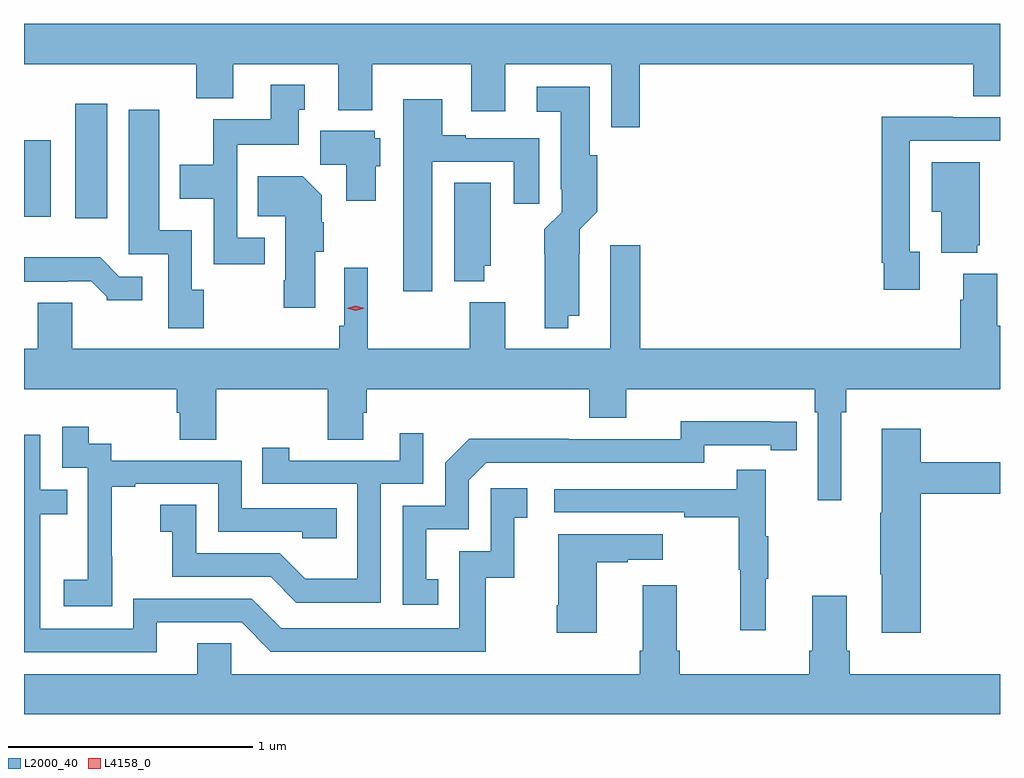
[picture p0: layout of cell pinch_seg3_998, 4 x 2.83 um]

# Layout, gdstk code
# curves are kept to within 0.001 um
import gdstk
lib = gdstk.Library(unit=1e-6, precision=1e-09)
def R(c, l, rs):  # rectangles x0, y0, x1, y1
    for r in rs: c.add(gdstk.rectangle(r[:2], r[2:], *l))
def P(c, l, *ps):  # polygons
    for p in ps: c.add(gdstk.Polygon(p, *l))
L2000_40 = (2000, 40)
L4158_0 = (4158, 0)

pinch_seg3_998 = lib.new_cell('pinch_seg3_998')
R(pinch_seg3_998, L2000_40, [(491.924,706.944,492.055,707.413), (491.714,706.949,491.824,707.263)])
P(pinch_seg3_998, L2000_40, [(494.237,707.576),(495.605,707.576),(495.605,707.443),(495.714,707.443),(495.714,707.74),(491.714,707.74),(491.714,707.576),(492.419,707.576),(492.419,707.435),(492.571,707.435),(492.571,707.576),(493.001,707.576),(493.001,707.387),(493.141,707.387),(493.141,707.576),(493.547,707.576),(493.547,707.382),(493.687,707.382),(493.687,707.576),(494.121,707.576),(494.121,707.316),(494.237,707.316)],
  [(492.7,706.863),(492.588,706.863),(492.588,707.246),(492.841,707.246),(492.841,707.388),(492.865,707.388),(492.865,707.491),(492.725,707.491),(492.725,707.35),(492.49,707.35),(492.49,707.164),(492.353,707.164),(492.353,707.024),(492.492,707.024),(492.492,706.755),(492.7,706.755)],
  [(493.945,706.544),(493.99,706.544),(493.991,706.898),(494.063,706.97),(494.063,707.202),(494.032,707.202),(494.032,707.482),(493.815,707.482),(493.815,707.381),(493.913,707.381),(493.913,707.062),(493.917,707.062),(493.917,706.968),(493.847,706.898),(493.848,706.493),(493.945,706.493)],
  [(493.387,707.175),(493.721,707.175),(493.721,707.004),(493.825,707.004),(493.825,707.271),(493.525,707.271),(493.525,707.284),(493.429,707.284),(493.429,707.431),(493.268,707.431),(493.268,706.644),(493.387,706.644)],
  [(492.45,706.65),(492.402,706.65),(492.402,706.894),(492.268,706.894),(492.268,707.389),(492.143,707.389),(492.143,706.797),(492.306,706.797),(492.306,706.494),(492.45,706.494)],
  [(495.385,706.806),(495.345,706.806),(495.345,707.262),(495.714,707.262),(495.714,707.358),(495.521,707.358),(495.521,707.36),(495.229,707.36),(495.229,706.762),(495.237,706.762),(495.237,706.65),(495.385,706.65)],
  [(493.156,707.157),(493.174,707.157),(493.174,707.271),(493.152,707.271),(493.152,707.302),(492.929,707.302),(492.929,707.164),(493.034,707.164),(493.034,707.016),(493.156,707.016)],
  [(495.62,706.833),(495.631,706.833),(495.631,707.173),(495.434,707.173),(495.434,706.97),(495.473,706.97),(495.473,706.802),(495.62,706.802)],
  [(492.907,706.806),(492.942,706.806),(492.942,706.928),(492.934,706.928),(492.934,707.038),(492.856,707.116),(492.673,707.116),(492.673,706.952),(492.785,706.952),(492.785,706.69),(492.778,706.69),(492.778,706.578),(492.907,706.578)],
  [(493.6,706.749),(493.627,706.749),(493.627,707.09),(493.478,707.09),(493.478,706.685),(493.6,706.685)],
  [(494.24,706.834),(494.117,706.834),(494.117,706.408),(493.687,706.408),(493.687,706.6),(493.54,706.6),(493.54,706.408),(493.123,706.408),(493.123,706.741),(493.026,706.741),(493.026,706.504),(493.006,706.504),(493.006,706.408),(491.911,706.408),(491.911,706.598),(491.771,706.598),(491.771,706.408),(491.714,706.408),(491.714,706.244),(492.341,706.244),(492.341,706.146),(492.353,706.146),(492.353,706.036),(492.501,706.036),(492.501,706.244),(492.958,706.244),(492.958,706.036),(493.105,706.036),(493.105,706.146),(493.118,706.146),(493.118,706.244),(494.03,706.244),(494.03,706.127),(494.182,706.127),(494.182,706.244),(494.954,706.244),(494.954,706.148),(494.967,706.148),(494.967,705.789),(495.064,705.789),(495.064,706.148),(495.083,706.148),(495.083,706.244),(495.714,706.244),(495.714,706.504),(495.703,706.504),(495.703,706.717),(495.563,706.717),(495.563,706.61),(495.551,706.61),(495.551,706.408),(494.24,706.408)],
  [(492.199,706.704),(492.105,706.704),(492.027,706.783),(491.714,706.783),(491.714,706.683),(491.891,706.683),(491.891,706.686),(491.99,706.686),(492.054,706.622),(492.054,706.607),(492.199,706.607)],
  [(493.412,705.465),(493.363,705.465),(493.363,705.669),(493.536,705.669),(493.536,705.87),(493.608,705.942),(494.502,705.942),(494.502,706.014),(494.774,706.014),(494.774,705.994),(494.882,705.994),(494.882,706.11),(494.406,706.111),(494.406,706.038),(493.946,706.038),(493.946,706.04),(493.538,706.04),(493.44,705.942),(493.44,705.765),(493.266,705.765),(493.266,705.36),(493.412,705.36)],
  [(492.075,705.559),(492.074,705.559),(492.074,705.843),(492.169,705.843),(492.169,705.855),(492.51,705.855),(492.51,705.66),(492.855,705.66),(492.855,705.633),(492.995,705.633),(492.995,705.756),(492.606,705.756),(492.606,705.951),(492.072,705.951),(492.072,706.02),(491.98,706.02),(491.98,706.09),(491.871,706.09),(491.871,705.921),(491.976,705.921),(491.976,705.692),(491.975,705.692),(491.975,705.463),(491.877,705.463),(491.877,705.353),(492.075,705.353)],
  [(495.389,705.814),(495.714,705.814),(495.714,705.943),(495.389,705.943),(495.389,706.081),(495.23,706.081),(495.23,705.737),(495.223,705.737),(495.223,705.484),(495.23,705.484),(495.23,705.246),(495.389,705.246)],
  [(493.176,705.855),(493.35,705.855),(493.35,706.063),(493.253,706.063),(493.253,705.951),(492.802,705.951),(492.802,706.003),(492.691,706.003),(492.691,705.855),(493.08,705.855),(493.08,705.466),(492.866,705.466),(492.762,705.57),(492.42,705.57),(492.42,705.769),(492.273,705.769),(492.273,705.659),(492.322,705.659),(492.322,705.474),(492.725,705.474),(492.83,705.369),(493.176,705.369)],
  [(492.259,705.288),(492.606,705.288),(492.726,705.168),(493.606,705.168),(493.606,705.471),(493.724,705.471),(493.724,705.717),(493.777,705.717),(493.777,705.838),(493.626,705.838),(493.626,705.579),(493.497,705.579),(493.497,705.264),(492.768,705.264),(492.648,705.384),(492.162,705.384),(492.162,705.261),(491.781,705.261),(491.781,705.73),(491.891,705.73),(491.891,705.831),(491.781,705.831),(491.781,706.056),(491.714,706.056),(491.714,705.165),(492.259,705.165)],
  [(494.753,705.467),(494.764,705.467),(494.764,705.641),(494.753,705.641),(494.753,705.913),(494.635,705.913),(494.635,705.834),(493.887,705.834),(493.887,705.738),(494.419,705.738),(494.419,705.718),(494.643,705.718),(494.643,705.504),(494.65,705.504),(494.65,705.255),(494.753,705.255)],
  [(494.062,705.535),(494.189,705.535),(494.189,705.545),(494.332,705.545),(494.332,705.649),(493.904,705.649),(493.904,705.358),(493.897,705.358),(493.897,705.246),(494.062,705.246)],
  [(495.714,705.076),(495.098,705.076),(495.098,705.172),(495.085,705.172),(495.085,705.397),(494.945,705.397),(494.945,705.172),(494.933,705.172),(494.933,705.076),(494.402,705.076),(494.402,705.172),(494.389,705.172),(494.389,705.439),(494.249,705.439),(494.249,705.172),(494.237,705.172),(494.237,705.076),(492.564,705.076),(492.564,705.203),(492.425,705.203),(492.425,705.076),(491.714,705.076),(491.714,704.912),(495.714,704.912)])
P(pinch_seg3_998, L4158_0, [(493.073,706.565),(493.037,706.575),(493.037,706.575),(493.037,706.576),(493.073,706.585),(493.109,706.575),(493.109,706.575),(493.109,706.575)])

lib.write_gds('pinch_seg3_998.gds')
